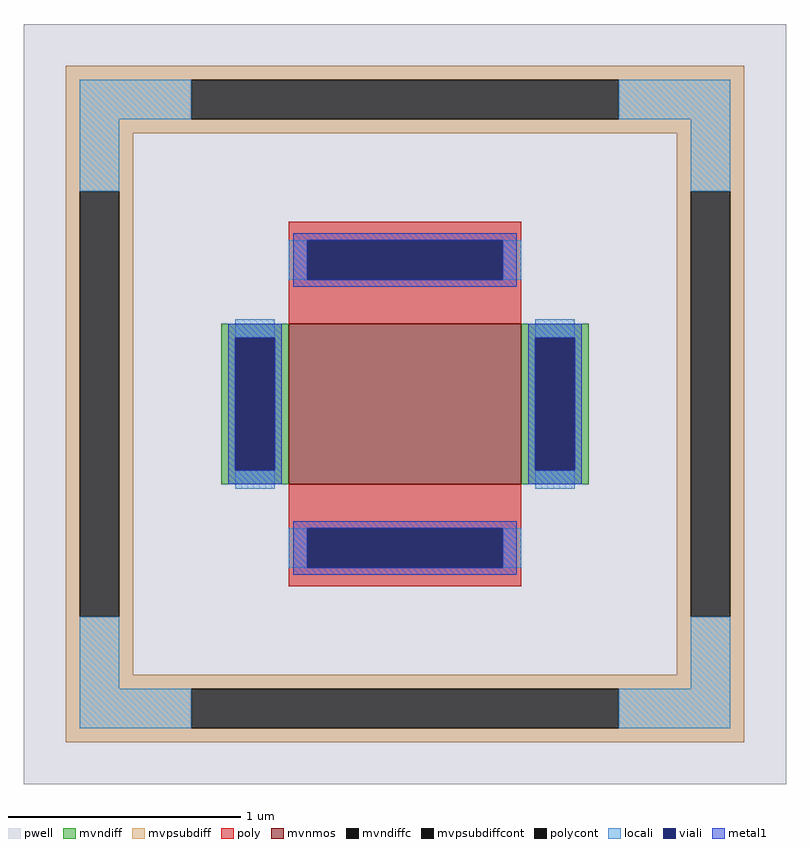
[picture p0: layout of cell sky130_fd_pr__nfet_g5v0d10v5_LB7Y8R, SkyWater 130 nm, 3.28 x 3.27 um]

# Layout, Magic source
magic
tech sky130A
magscale 1 2
<< pwell >>
rect -328 -327 328 327
<< mvnmos >>
rect -100 -69 100 69
<< mvndiff >>
rect -158 57 -100 69
rect -158 -57 -146 57
rect -112 -57 -100 57
rect -158 -69 -100 -57
rect 100 57 158 69
rect 100 -57 112 57
rect 146 -57 158 57
rect 100 -69 158 -57
<< mvndiffc >>
rect -146 -57 -112 57
rect 112 -57 146 57
<< mvpsubdiff >>
rect -292 279 292 291
rect -292 245 -184 279
rect 184 245 292 279
rect -292 233 292 245
rect -292 183 -234 233
rect -292 -183 -280 183
rect -246 -183 -234 183
rect 234 183 292 233
rect -292 -233 -234 -183
rect 234 -183 246 183
rect 280 -183 292 183
rect 234 -233 292 -183
rect -292 -245 292 -233
rect -292 -279 -184 -245
rect 184 -279 292 -245
rect -292 -291 292 -279
<< mvpsubdiffcont >>
rect -184 245 184 279
rect -280 -183 -246 183
rect 246 -183 280 183
rect -184 -279 184 -245
<< poly >>
rect -100 141 100 157
rect -100 107 -84 141
rect 84 107 100 141
rect -100 69 100 107
rect -100 -107 100 -69
rect -100 -141 -84 -107
rect 84 -141 100 -107
rect -100 -157 100 -141
<< polycont >>
rect -84 107 84 141
rect -84 -141 84 -107
<< locali >>
rect -280 245 -184 279
rect 184 245 280 279
rect -280 183 -246 245
rect 246 183 280 245
rect -100 107 -84 141
rect 84 107 100 141
rect -146 57 -112 73
rect -146 -73 -112 -57
rect 112 57 146 73
rect 112 -73 146 -57
rect -100 -141 -84 -107
rect 84 -141 100 -107
rect -280 -245 -246 -183
rect 246 -245 280 -183
rect -280 -279 -184 -245
rect 184 -279 280 -245
<< viali >>
rect -84 107 84 141
rect -146 -57 -112 57
rect 112 -57 146 57
rect -84 -141 84 -107
<< metal1 >>
rect -96 141 96 147
rect -96 107 -84 141
rect 84 107 96 141
rect -96 101 96 107
rect -152 57 -106 69
rect -152 -57 -146 57
rect -112 -57 -106 57
rect -152 -69 -106 -57
rect 106 57 152 69
rect 106 -57 112 57
rect 146 -57 152 57
rect 106 -69 152 -57
rect -96 -107 96 -101
rect -96 -141 -84 -107
rect 84 -141 96 -107
rect -96 -147 96 -141
<< properties >>
string FIXED_BBOX -263 -262 263 262
string gencell sky130_fd_pr__nfet_g5v0d10v5
string library sky130
string parameters w 0.69 l 1.0 m 1 nf 1 diffcov 100 polycov 100 guard 1 glc 1 grc 1 gtc 1 gbc 1 tbcov 100 rlcov 100 topc 1 botc 1 poverlap 0 doverlap 1 lmin 0.50 wmin 0.42 compatible {sky130_fd_pr__nfet_01v8 sky130_fd_pr__nfet_01v8_lvt  sky130_fd_bs_flash__special_sonosfet_star  sky130_fd_pr__nfet_g5v0d10v5 sky130_fd_pr__nfet_05v0_nvt  sky130_fd_pr__nfet_03v3_nvt} full_metal 1 viasrc 100 viadrn 100 viagate 100 viagb 0 viagr 0 viagl 0 viagt 0
<< end >>
